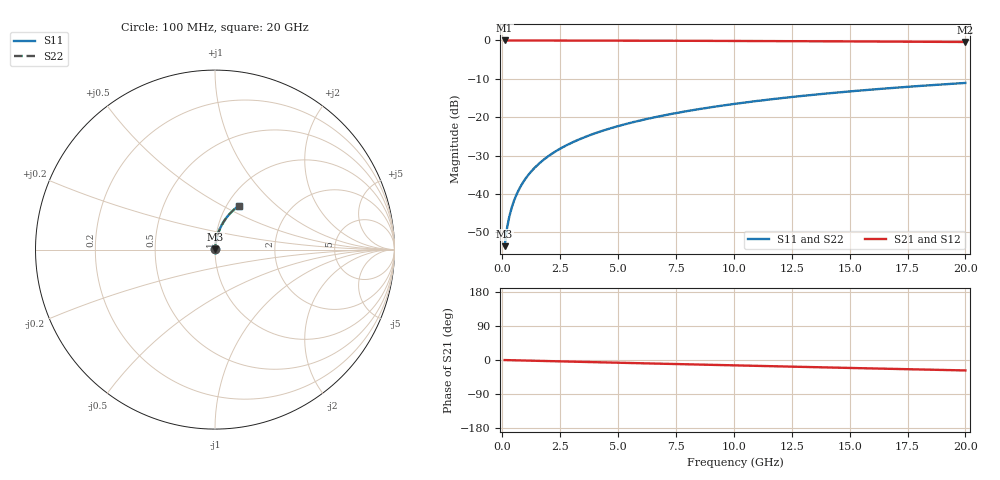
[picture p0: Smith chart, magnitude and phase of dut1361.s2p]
! Touchstone file exported from HFSS 2026.1.0
!  File:  C:/ffzhzh/LocalFiles/Ansys_Project_Files/temp_train_TMRDL_1361_1783165687_22436.aedt
!  Generated:  07:49:22 PM Jul  4, 2026
!  Design:  TMRDL
!  Project:  temp_train_TMRDL_1361_1783165687_22436
! Variables:
!  h_bsmrdl = 2um
!  h_ox = 20um
!  h_rdl = 5um
!  h_sub = 80um
!  h_tmrdl = 4.86um
!  h_tsv = 80um
!  h_via = 3um
!  l_bsmrdl = 300um
!  l_sub = 759.5um
!  l_tmrdl = 359.5um
!  m_sub = 200um
!  pitch = 57.83um
!  r_tsv = 6um
!  s_tmrdl = 10um
!  w_bsmrdl = 18um
!  w_sub = 500um
!  w_tmrdl = 24.13um
!  x_tsv_center1 = 371.565um
!  x_tsv_center2 = 689.565um
!  x_tsv_center3 = 1073.195um
!  x_tsv_center4 = 1391.195um
!  x_tsv_center5 = 1774.825um
!  x_tsv_center6 = 2092.825um
# GHz S MA R 50.000000
! Terminal data exported
! Port[1] = TM_RDL1_1_T1
! Port[2] = TM_RDL1_1_T2
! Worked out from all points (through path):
!   200 points, 100 MHz to 20 GHz, reference 50 ohm
!   highest |S21| = -0.01 dB at 100 MHz (marker M1); lowest = -0.4 dB at 20 GHz (marker M2)
!   group delay of S21, straight-line fit = 3.83 ps
!   lowest |S11| = -53.6 dB at 100 MHz (marker M3), VSWR 1.00, Z = 50.1 + j0.167 ohm
!   |S11| at or under -10 dB: start of sweep to end of sweep
!   |S22| runs from -53.6 to -11.1 dB; largest |S21 - S12| = 2.8e-15
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0.1  0.002093 52.9  0.9987 -0.2  0.9987 -0.2  0.002093 52.9
! Gamma 0 0 0 0
! Port Impedance 50 0 50 0
0.2  0.00354 67.5  0.9987 -0.3  0.9987 -0.3  0.00354 67.5
0.3  0.005038 73.4  0.9986 -0.4  0.9986 -0.4  0.005038 73.4
0.4  0.006552 76.7  0.9985 -0.6  0.9985 -0.6  0.006552 76.7
0.5  0.008078 78.8  0.9985 -0.7  0.9985 -0.7  0.008078 78.8
0.7  0.01115 81.1  0.9984 -1.0  0.9984 -1.0  0.01115 81.1
0.8  0.0127 81.8  0.9984 -1.2  0.9984 -1.2  0.0127 81.8
1  0.01579 82.7  0.9983 -1.5  0.9983 -1.5  0.01579 82.7
1.2  0.01889 83.3  0.9982 -1.8  0.9982 -1.8  0.01889 83.3
1.4  0.02199 83.5  0.9981 -2.0  0.9981 -2.0  0.02199 83.5
1.7  0.02663 83.6  0.9978 -2.5  0.9978 -2.5  0.02663 83.6
2  0.03126 83.6  0.9976 -2.9  0.9976 -2.9  0.03126 83.6
2.7  0.04199 83.1  0.9969 -3.9  0.9969 -3.9  0.04199 83.1
3.5  0.05414 82.3  0.996 -5.1  0.996 -5.1  0.05414 82.3
4.2  0.06466 81.4  0.9951 -6.1  0.9951 -6.1  0.06466 81.4
5  0.07657 80.4  0.9939 -7.2  0.9939 -7.2  0.07657 80.4
6.8  0.103 78.2  0.9909 -9.7  0.9909 -9.7  0.103 78.2
8.3  0.1246 76.2  0.988 -11.8  0.988 -11.8  0.1246 76.2
10.1  0.1501 73.9  0.984 -14.3  0.984 -14.3  0.1501 73.9
13.4  0.1954 69.6  0.9754 -18.8  0.9754 -18.8  0.1954 69.6
16.7  0.2386 65.4  0.9652 -23.2  0.9652 -23.2  0.2386 65.4
20  0.2793 61.2  0.9539 -27.6  0.9539 -27.6  0.2793 61.2
